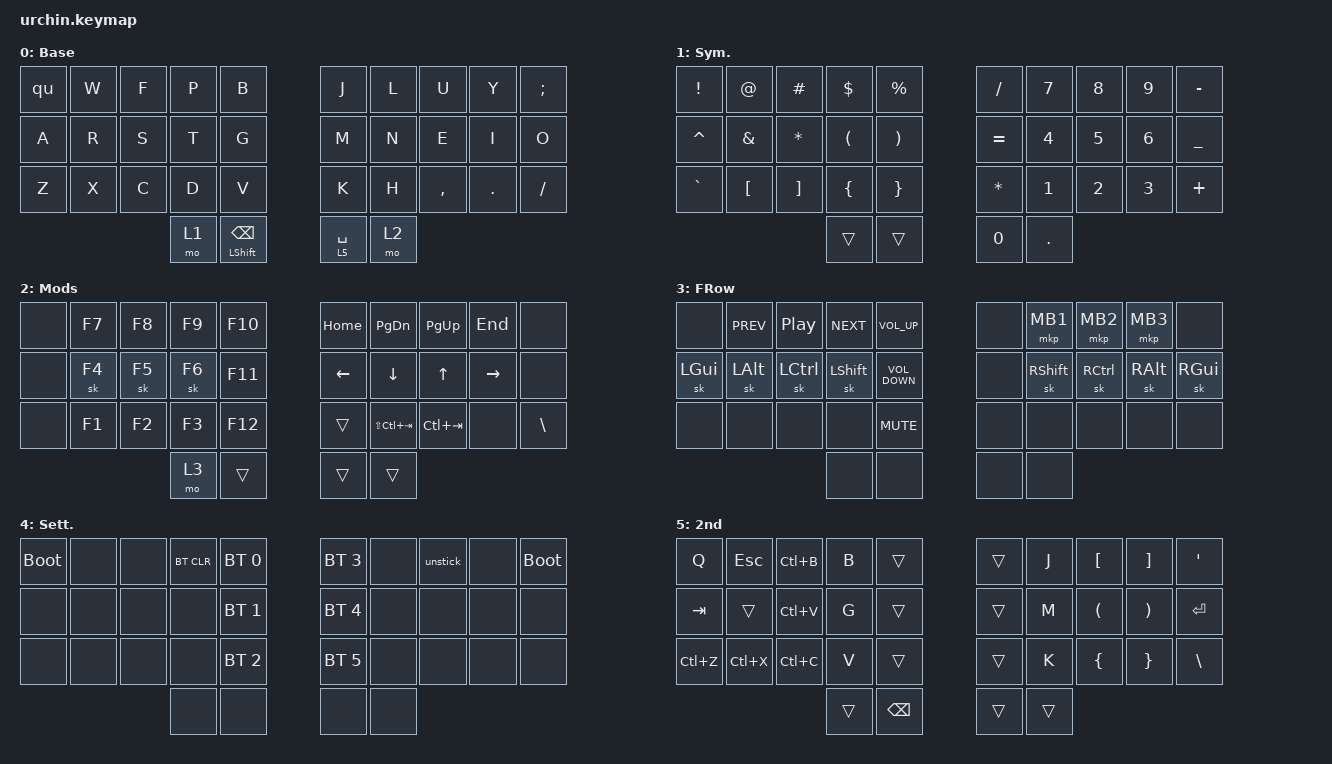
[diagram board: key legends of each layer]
/*
 * Copyright (c) 2020 duckyb
 *
 * SPDX-License-Identifier: MIT
 */

#include <behaviors.dtsi>
#include <dt-bindings/zmk/bt.h>
#include <dt-bindings/zmk/keys.h>
#include <dt-bindings/zmk/mouse.h>

// Layer definitions

#define BASE 0
#define SYM 1
#define EXT 2
#define MOD 3
#define SETTINGS 4

// Constants

#define HM_TAPPING_TERM 300
#define HM_TAPPING_TERM_FAST 200
#define HM_PRIOR_IDLE 150

// was 175

#define HM_QUICK_TAP 200

// -----------------

&sk {
    // don't release mods on other mods presses

    ignore-modifiers;
};

/ {
    behaviors {
        hml: homerow_mods_left {
            compatible = "zmk,behavior-hold-tap";
            #binding-cells = <2>;
            bindings = <&kp>, <&kp>;

            flavor = "balanced";
            tapping-term-ms = <HM_TAPPING_TERM>;
            quick-tap-ms = <HM_QUICK_TAP>;                // repeat on tap-into-hold
            require-prior-idle-ms = <HM_PRIOR_IDLE>;
            hold-trigger-key-positions = <5 6 7 8 9 15 16 17 18 19 25 26 27 28 29 30 31 32 33>;
            hold-trigger-on-release;
        };

        hmr: homerow_mods_right {
            compatible = "zmk,behavior-hold-tap";
            #binding-cells = <2>;
            bindings = <&kp>, <&kp>;

            flavor = "balanced";
            tapping-term-ms = <HM_TAPPING_TERM>;
            quick-tap-ms = <HM_QUICK_TAP>;
            require-prior-idle-ms = <HM_PRIOR_IDLE>;
            hold-trigger-key-positions = <0 1 2 3 4 10 11 12 13 14 20 21 22 23 24 30 31 32 3330 31 32 33>;
            hold-trigger-on-release;
        };

        // Enables holding the first mod-tap key
        // by performing a tap-release-hold sequence.
        // To use it: "&qt KEYCODE1 KEYCODE2"

        qt: quick_tap {
            compatible = "zmk,behavior-hold-tap";
            label = "QUICK_TAP";
            #binding-cells = <2>;
            flavor = "hold-preferred";
            tapping-term-ms = <300>;
            quick-tap-ms = <200>;
            bindings = <&kp>, <&kp>;
        };
    };

    macros {
        // sometimes my device thinks a modifier is being held down
        // pressing all modifiers fixes it.

        unstick: unstick_macro {
            compatible = "zmk,behavior-macro";
            #binding-cells = <0>;
            bindings = <&kp LSHIFT &kp RSHIFT &kp LCTRL &kp RCTRL &kp LALT &kp RALT &kp LGUI &kp RGUI>;
        };

        qu: qu_macro {
            compatible = "zmk,behavior-macro";
            #binding-cells = <0>;
            bindings =
                <&macro_tap>,
                <&kp Q>,
                <&macro_release>,
                <&kp LSHIFT &kp RSHIFT>,
                <&macro_tap>,
                <&kp U>;
        };

        wh: wh_macro {
            compatible = "zmk,behavior-macro";
            #binding-cells = <0>;
            bindings =
                <&macro_tap>,
                <&kp W>,
                <&macro_release>,
                <&kp LSHIFT &kp RSHIFT>,
                <&macro_tap>,
                <&kp H>;
        };

        ch: ch_macro {
            compatible = "zmk,behavior-macro";
            #binding-cells = <0>;
            bindings =
                <&macro_tap>,
                <&kp C>,
                <&macro_release>,
                <&kp LSHIFT &kp RSHIFT>,
                <&macro_tap>,
                <&kp H>;
        };

        sh: sh_macro {
            compatible = "zmk,behavior-macro";
            #binding-cells = <0>;
            bindings =
                <&macro_tap>,
                <&kp S>,
                <&macro_release>,
                <&kp LSHIFT &kp RSHIFT>,
                <&macro_tap>,
                <&kp H>;
        };

        th: th_macro {
            compatible = "zmk,behavior-macro";
            #binding-cells = <0>;
            bindings =
                <&macro_tap>,
                <&kp T>,
                <&macro_release>,
                <&kp LSHIFT &kp RSHIFT>,
                <&macro_tap>,
                <&kp H>;
        };

        ck: ck_macro {
            compatible = "zmk,behavior-macro";
            #binding-cells = <0>;
            bindings = <&kp C &kp K>;
        };

        gh: gh_macro {
            compatible = "zmk,behavior-macro";
            #binding-cells = <0>;
            bindings =
                <&macro_tap>,
                <&kp G>,
                <&macro_release>,
                <&kp LSHIFT &kp RSHIFT>,
                <&macro_tap>,
                <&kp H>;
        };

        ou: ou_macro {
            compatible = "zmk,behavior-macro";
            #binding-cells = <0>;
            bindings =
                <&macro_tap>,
                <&kp O>,
                <&macro_release>,
                <&kp LSHIFT &kp RSHIFT>,
                <&macro_tap>,
                <&kp U>;
        };

        ion: ion {
            compatible = "zmk,behavior-macro";
            #binding-cells = <0>;
            bindings =
                <&macro_tap>,
                <&kp I>,
                <&macro_release>,
                <&kp LSHIFT &kp RSHIFT>,
                <&macro_tap>,
                <&kp O &kp N>;
        };

        ess: ess {
            compatible = "zmk,behavior-macro";
            #binding-cells = <0>;
            bindings =
                <&macro_tap>,
                <&kp E>,
                <&macro_release>,
                <&kp LSHIFT &kp RSHIFT>,
                <&macro_tap>,
                <&kp S &kp S>;
        };

        est: est {
            compatible = "zmk,behavior-macro";
            #binding-cells = <0>;
            bindings =
                <&macro_tap>,
                <&kp E>,
                <&macro_release>,
                <&kp LSHIFT &kp RSHIFT>,
                <&macro_tap>,
                <&kp S &kp T>;
        };

        ing: ing {
            compatible = "zmk,behavior-macro";
            #binding-cells = <0>;
            bindings =
                <&macro_tap>,
                <&kp I>,
                <&macro_release>,
                <&kp LSHIFT &kp RSHIFT>,
                <&macro_tap>,
                <&kp N &kp G>;
        };

        ist: ist {
            compatible = "zmk,behavior-macro";
            #binding-cells = <0>;
            bindings =
                <&macro_tap>,
                <&kp I>,
                <&macro_release>,
                <&kp LSHIFT &kp RSHIFT>,
                <&macro_tap>,
                <&kp S &kp T>;
        };

        able: able {
            compatible = "zmk,behavior-macro";
            #binding-cells = <0>;
            bindings =
                <&macro_tap>,
                <&kp A>,
                <&macro_release>,
                <&kp LSHIFT &kp RSHIFT>,
                <&macro_tap>,
                <&kp B &kp L &kp E>;
        };
    };

    combos {
        compatible = "zmk,combos";

        // both left thumb keys

        combo_settings_left {
            timeout-ms = <200>;
            key-positions = <30 31>;
            bindings = <&mo SETTINGS>;
        };

        combo_settings_right {
            bindings = <&mo SETTINGS>;
            key-positions = <32 33>;
            timeout-ms = <200>;
        };

        // outer thumbs show mod layer

        combo_mods {
            timeout-ms = <200>;
            key-positions = <30 33>;
            bindings = <&mo MOD>;
        };

        combo_wf_esc {
            bindings = <&kp ESCAPE>;
            key-positions = <1 2>;
        };

        combo_xc_capsword {
            bindings = <&caps_word>;
            key-positions = <21 22>;
        };

        combo_cd_tab {
            bindings = <&kp TAB>;
            key-positions = <22 23>;
        };

        combo_enter {
            bindings = <&kp ENTER>;
            key-positions = <26 27>;
        };

        // Punctuation

        combo_uy_quote {
            bindings = <&kp SQT>;
            key-positions = <7 8>;
        };

        // Simplify access to hard to reach single characters
        // Simplify access to some bigrams

        combo_wn_wh {
            bindings = <&wh>;
            key-positions = <1 16>;
        };

        combo_cn_ch {
            bindings = <&ch>;
            key-positions = <22 16>;
        };

        combo_sn_sh {
            bindings = <&sh>;
            key-positions = <12 16>;
        };

        combo_st_th {
            bindings = <&th>;
            key-positions = <12 13>;
        };

        combo_fn_ck {
            bindings = <&ck>;
            key-positions = <2 16>;
        };

        combo_tn_gh {
            bindings = <&gh>;
            key-positions = <16 13>;
        };

        combo_io_ou {
            bindings = <&ou>;
            key-positions = <18 19>;
        };

        // Simplify access to some trigrams

        combo_in_ion {
            bindings = <&ion>;
            key-positions = <18 16>;
        };

        combo_es_ess {
            bindings = <&ess>;
            key-positions = <17 12>;
        };

        combo_et_est {
            bindings = <&est>;
            key-positions = <17 13>;
        };

        combo_ie_ing {
            bindings = <&ing>;
            key-positions = <18 17>;
        };

        combo_it_ist {
            bindings = <&ist>;
            key-positions = <18 13>;
        };

        // Simplify access to some 4grams

        combo_at_able {
            bindings = <&able>;
            key-positions = <10 13>;
        };
    };

    keymap {
        compatible = "zmk,keymap";

        // Base alpha layer

        default_layer {
            label = "Base";
            bindings = <
&qu      &kp W    &kp F    &kp P    &kp B                       &kp J          &kp L    &kp U        &kp Y      &kp SEMICOLON
&kp A    &kp R    &kp S    &kp T    &kp G                       &kp M          &kp N    &kp E        &kp I      &kp O
&kp Z    &kp X    &kp C    &kp D    &kp V                       &kp K          &kp H    &kp COMMA    &kp DOT    &kp SLASH
                           &mo 1    &mt LEFT_SHIFT BACKSPACE    &lt 5 SPACE    &mo 2
            >;
        };

        // Numbers and high frequency symbols

        sym_layer {
            label = "Sym.";
            bindings = <
&kp EXCLAMATION    &kp AT              &kp HASH             &kp DOLLAR              &kp PERCENT              &kp SLASH       &kp N7     &kp N8    &kp N9    &kp MINUS
&kp CARET          &kp AMPERSAND       &kp ASTERISK         &kp LEFT_PARENTHESIS    &kp RIGHT_PARENTHESIS    &kp EQUAL       &kp N4     &kp N5    &kp N6    &kp UNDERSCORE
&kp GRAVE          &kp LEFT_BRACKET    &kp RIGHT_BRACKET    &kp LEFT_BRACE          &kp RIGHT_BRACE          &kp ASTERISK    &kp N1     &kp N2    &kp N3    &kp PLUS
                                                            &trans                  &trans                   &kp N0          &kp DOT
            >;
        };

        // Main modifiers and arrow keys

        ext_layer {
            label = "Mods";
            bindings = <
&none    &kp F7    &kp F8    &kp F9    &kp F10    &kp HOME          &kp PAGE_DOWN      &kp PAGE_UP     &kp END      &none
&none    &sk F4    &sk F5    &sk F6    &kp F11    &kp LEFT_ARROW    &kp DOWN_ARROW     &kp UP_ARROW    &kp RIGHT    &none
&none    &kp F1    &kp F2    &kp F3    &kp F12    &trans            &kp LS(LC(TAB))    &kp LC(TAB)     &none        &kp BACKSLASH
                             &mo 3     &trans     &trans            &trans
            >;
        };

        // Function keys with modifiers

        mod_layer {
            label = "FRow";
            bindings = <
&none       &kp C_PREV    &kp C_PP     &kp C_NEXT    &kp C_VOLUME_UP      &none    &mkp MB1      &mkp MB2     &mkp MB3    &none
&sk LGUI    &sk LALT      &sk LCTRL    &sk LSHIFT    &kp C_VOLUME_DOWN    &none    &sk RSHIFT    &sk RCTRL    &sk RALT    &sk RGUI
&none       &none         &none        &none         &kp C_MUTE           &none    &none         &none        &none       &none
                                       &none         &none                &none    &none
            >;
        };

        // Used to change the keyboard's settings.

        settings_layer {
            label = "Sett.";
            bindings = <
&bootloader    &none    &none    &bt BT_CLR    &bt BT_SEL 0    &bt BT_SEL 3    &none    &unstick    &none    &bootloader
&none          &none    &none    &none         &bt BT_SEL 1    &bt BT_SEL 4    &none    &none       &none    &none
&none          &none    &none    &none         &bt BT_SEL 2    &bt BT_SEL 5    &none    &none       &none    &none
                                 &none         &none           &none           &none
            >;
        };

        seond_layer {
            bindings = <
&kp Q        &kp ESCAPE    &kp LC(B)    &kp B     &trans           &trans    &kp J     &kp LBKT                &kp RBKT                 &kp APOS
&kp TAB      &trans        &kp LC(V)    &kp G     &trans           &trans    &kp M     &kp LEFT_PARENTHESIS    &kp RIGHT_PARENTHESIS    &kp ENTER
&kp LC(Z)    &kp LC(X)     &kp LC(C)    &kp V     &trans           &trans    &kp K     &kp LEFT_BRACE          &kp RIGHT_BRACE          &kp BSLH
                                        &trans    &kp BACKSPACE    &trans    &trans
            >;

            label = "2nd";
        };
    };
};
